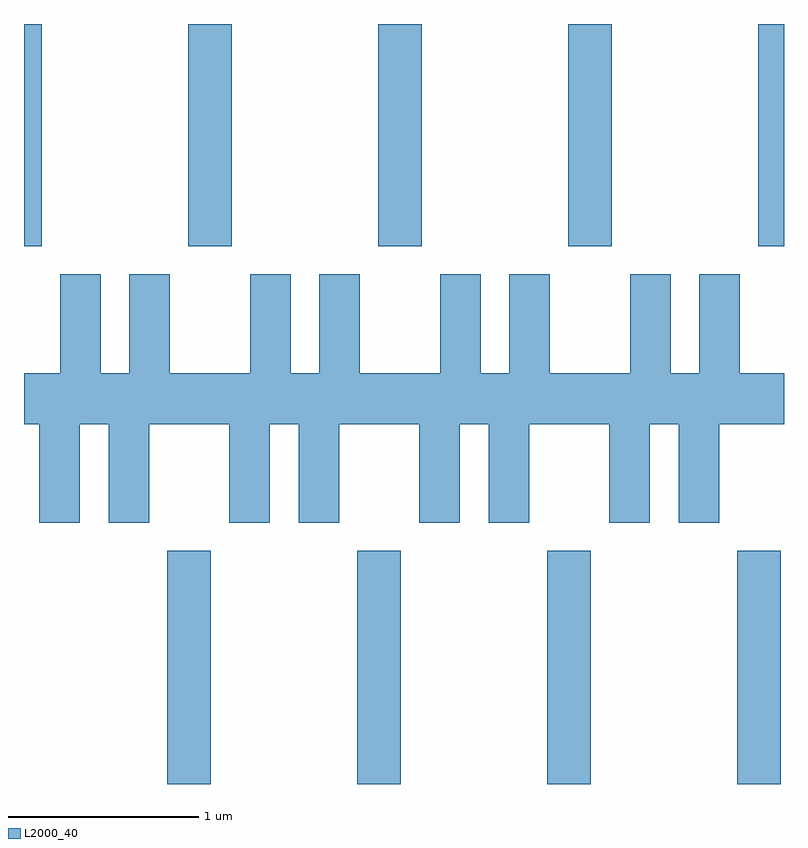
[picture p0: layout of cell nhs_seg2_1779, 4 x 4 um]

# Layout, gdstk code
import gdstk
lib = gdstk.Library(unit=1e-6, precision=1e-09)
def R(c, l, rs):  # rectangles x0, y0, x1, y1
    for r in rs: c.add(gdstk.rectangle(r[:2], r[2:], *l))
def A(c, l, x, y, w, h, nx, ny, dx, dy):  # array of equal rectangles
    R(c, l, [(x+i*dx, y+j*dy, x+i*dx+w, y+j*dy+h) for i in range(nx) for j in range(ny)])
def P(c, l, *ps):  # polygons
    for p in ps: c.add(gdstk.Polygon(p, *l))
L2000_40 = (2000, 40)

nhs_seg2_1779 = lib.new_cell('nhs_seg2_1779')
A(nhs_seg2_1779, L2000_40, 238.366, 999.802, 0.228, 1.227, 4, 1, 1, 0)
A(nhs_seg2_1779, L2000_40, 238.476, 1002.631, 0.228, 1.171, 3, 1, 1, 0)
R(nhs_seg2_1779, L2000_40, [(237.611,1002.631,237.704,1003.802), (241.476,1002.631,241.611,1003.802)])
P(nhs_seg2_1779, L2000_40, [(238.691,1001.176),(238.904,1001.176),(238.904,1001.696),(239.056,1001.696),(239.056,1001.176),(239.269,1001.176),(239.269,1001.696),(239.691,1001.696),(239.691,1001.176),(239.904,1001.176),(239.904,1001.696),(240.056,1001.696),(240.056,1001.176),(240.269,1001.176),(240.269,1001.696),(240.691,1001.696),(240.691,1001.176),(240.904,1001.176),(240.904,1001.696),(241.056,1001.696),(241.056,1001.176),(241.269,1001.176),(241.269,1001.696),(241.611,1001.696),(241.611,1001.964),(241.379,1001.964),(241.379,1002.484),(241.166,1002.484),(241.166,1001.964),(241.014,1001.964),(241.014,1002.484),(240.801,1002.484),(240.801,1001.964),(240.379,1001.964),(240.379,1002.484),(240.166,1002.484),(240.166,1001.964),(240.014,1001.964),(240.014,1002.484),(239.801,1002.484),(239.801,1001.964),(239.379,1001.964),(239.379,1002.484),(239.166,1002.484),(239.166,1001.964),(239.014,1001.964),(239.014,1002.484),(238.801,1002.484),(238.801,1001.964),(238.379,1001.964),(238.379,1002.484),(238.166,1002.484),(238.166,1001.964),(238.014,1001.964),(238.014,1002.484),(237.801,1002.484),(237.801,1001.964),(237.611,1001.964),(237.611,1001.696),(237.691,1001.696),(237.691,1001.176),(237.904,1001.176),(237.904,1001.696),(238.056,1001.696),(238.056,1001.176),(238.269,1001.176),(238.269,1001.696),(238.691,1001.696)])

lib.write_gds('nhs_seg2_1779.gds')
